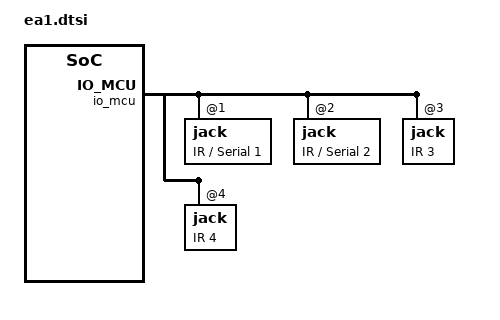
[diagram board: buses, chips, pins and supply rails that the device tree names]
// SPDX-License-Identifier: GPL-2.0
/* Control4 EA-1: what every board revision has. */
#include "ea.dtsi"

/* Four IR jacks; IR 1 and 2 double as serial ports 1 and 2. */
/* Pins: docs shared/io-mcu-pinmap (stock TM4C profile block 2). */
&io_mcu {
	jack@1 {
		reg = <1>;
		label = "IR / Serial 1";
		control4,ir-channel = <0>;
		control4,ir-pin = <IOMCU_PORT_B 6>;
		control4,uart = <0>;
		control4,uart-pins = <IOMCU_PORT_E 4>, <IOMCU_PORT_E 5>;
		control4,uart-mux-pins = <IOMCU_PORT_E 2>, <IOMCU_PORT_B 1>;
	};
	jack@2 {
		reg = <2>;
		label = "IR / Serial 2";
		control4,ir-channel = <1>;
		control4,ir-pin = <IOMCU_PORT_F 2>;
		control4,uart = <1>;
		control4,uart-pins = <IOMCU_PORT_E 0>, <IOMCU_PORT_E 1>;
		control4,uart-mux-pins = <IOMCU_PORT_E 3>, <IOMCU_PORT_B 3>;
	};
	jack@3 {
		reg = <3>;
		label = "IR 3";
		control4,ir-channel = <2>;
		control4,ir-pin = <IOMCU_PORT_B 0>;
	};
	jack@4 {
		reg = <4>;
		label = "IR 4";
		control4,ir-channel = <3>;
		control4,ir-pin = <IOMCU_PORT_B 2>;
	};
	ir-blaster {
		control4,ir-channel = <4>;
		control4,ir-pin = <IOMCU_PORT_D 4>;
	};
};
